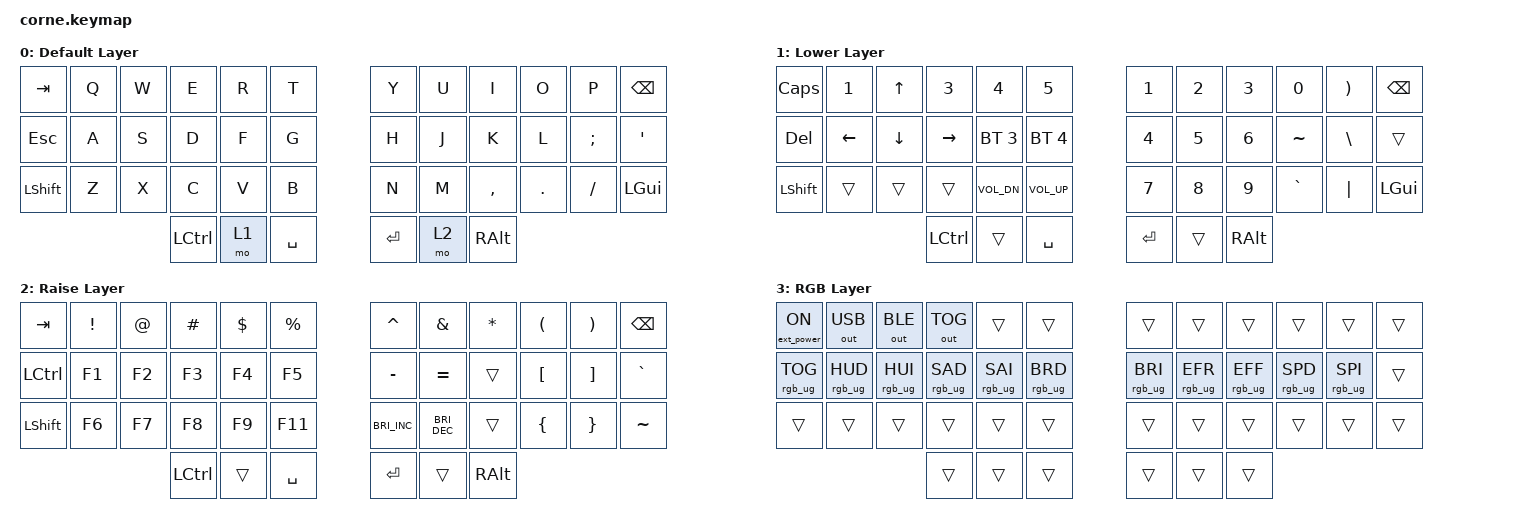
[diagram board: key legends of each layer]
/*
 * Copyright (c) 2020 The ZMK Contributors
 *
 * SPDX-License-Identifier: MIT
 */

#include <behaviors.dtsi>
#include <dt-bindings/zmk/keys.h>
#include <dt-bindings/zmk/bt.h>
#include <dt-bindings/zmk/rgb.h>
#include <dt-bindings/zmk/ext_power.h>
#include <dt-bindings/zmk/outputs.h>

/ {
        keymap {
                compatible = "zmk,keymap";

                default_layer {
                        display-name = "Default Layer";
                        bindings = <
   &kp TAB   &kp Q &kp W &kp E &kp R &kp T   &kp Y &kp U  &kp I     &kp O   &kp P    &kp BSPC
   &kp ESC   &kp A &kp S &kp D &kp F &kp G   &kp H &kp J  &kp K     &kp L   &kp SEMI &kp SQT
   &kp LSHFT &kp Z &kp X &kp C &kp V &kp B   &kp N &kp M  &kp COMMA &kp DOT &kp FSLH &kp LGUI
                  &kp LCTRL &mo 1 &kp SPACE   &kp RET &mo 2 &kp RALT
                        >;
                };


                lower_layer {
                        display-name = "Lower Layer";
                        bindings = <
   &kp CAPS  &kp N1   &kp UP   &kp N3    &kp N4       &kp N5         &kp N1   &kp N2   &kp N3 &kp N0    &kp RPAR &kp BSPC
   &kp DEL   &kp LEFT &kp DOWN &kp RIGHT &bt BT_SEL 3 &bt BT_SEL 4   &kp N4   &kp N5   &kp N6 &kp TILDE &kp BSLH &trans
   &kp LSHFT &trans   &trans   &trans    &kp C_VOL_DN &kp C_VOL_UP   &kp N7   &kp N8   &kp N9 &kp GRAVE &kp PIPE &kp LGUI
                                    &kp LCTRL    &trans       &kp SPACE      &kp RET  &trans   &kp RALT
                        >;
                };

                raise_layer {
                        display-name = "Raise Layer";
                        bindings = <
   &kp TAB   &kp EXCL &kp AT &kp HASH &kp DLLR &kp PRCNT   &kp CARET            &kp AMPS             &kp ASTRK &kp LPAR &kp RPAR &kp BSPC
   &kp LCTRL &kp F1   &kp F2 &kp F3   &kp F4   &kp F5      &kp MINUS            &kp EQUAL             &trans    &kp LBKT &kp RBKT &kp GRAVE
   &kp LSHFT &kp F6   &kp F7 &kp F8   &kp F9   &kp F11     &kp C_BRIGHTNESS_INC &kp C_BRIGHTNESS_DEC   &trans    &kp LBRC &kp RBRC &kp TILDE
                             &kp LCTRL &trans   &kp SPACE   &kp RET   &trans    &kp RALT
                        >; 
                };

                rgb_layer {
                        display-name = "RGB Layer";
                        bindings = <
// Top-left: EP_ON recovery key. The right half is powered over TRRS from the
// left's external power rail, so there is deliberately no EP_OFF / EP_TOG here.
// Next three: output selection (USB / Bluetooth / toggle between them).
   &ext_power EP_ON &out OUT_USB    &out OUT_BLE    &out OUT_TOG &trans        &trans            &trans          &trans          &trans          &trans          &trans          &trans
   &rgb_ug RGB_TOG &rgb_ug RGB_HUD &rgb_ug RGB_HUI &rgb_ug RGB_SAD &rgb_ug RGB_SAI &rgb_ug RGB_BRD   &rgb_ug RGB_BRI &rgb_ug RGB_EFR &rgb_ug RGB_EFF &rgb_ug RGB_SPD &rgb_ug RGB_SPI &trans
   &trans          &trans          &trans          &trans          &trans          &trans            &trans          &trans          &trans          &trans          &trans          &trans
                                    &trans          &trans          &trans            &trans          &trans          &trans
                        >;
                };
        };

        conditional_layers {
                compatible = "zmk,conditional-layers";
                tri_layer {
                        if-layers = <1 2>;
                        then-layer = <3>;
                };
        };
};

&led_strip {
        chain-length = <27>;
};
